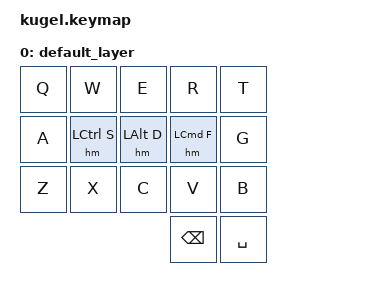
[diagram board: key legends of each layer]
#include <behaviors.dtsi>
#include <dt-bindings/zmk/keys.h>
#include <dt-bindings/zmk/bt.h>

/ {
    behaviors {
        hm: homerow_mods {
                compatible = "zmk,behavior-hold-tap";
                #binding-cells = <2>;
                tapping-term-ms = <300>;
                quick-tap-ms = <0>;
                flavor = "tap-preferred";
      q
        };
    };

    keymap {
        compatible = "zmk,keymap";

        default_layer {
            bindings = <
                &kp Q  &kp W        &kp E       &kp R       &kp T
                &kp A  &hm LCTRL S  &hm LALT D  &hm LCMD F  &kp G
                &kp Z  &kp X        &kp C       &kp V       &kp B
                                             &kp BSPC   &kp SPACE
            >;
        };
    };
};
